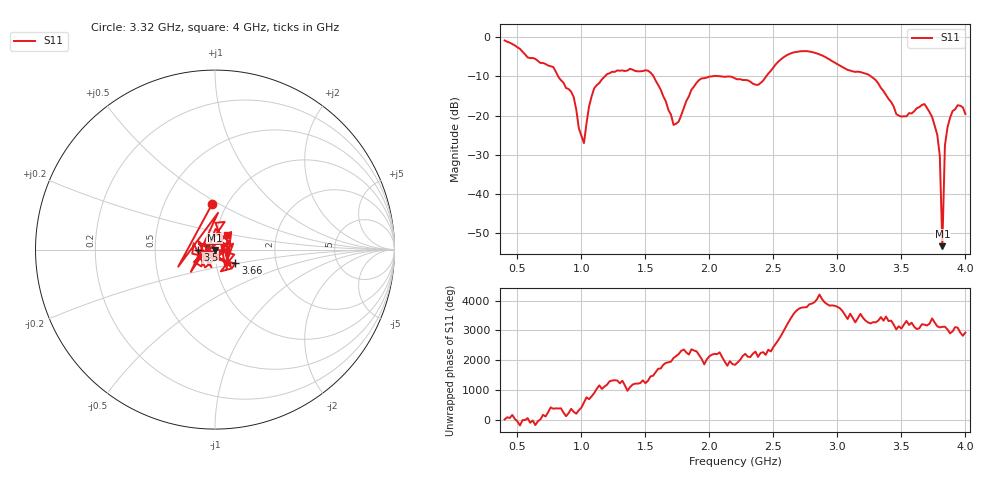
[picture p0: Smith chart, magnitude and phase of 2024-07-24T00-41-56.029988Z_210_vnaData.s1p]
!Created with skrf (http://scikit-rf.org).
# Hz S RI R 50.0
!freq ReS11 ImS11
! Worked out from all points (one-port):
!   181 points, 400 MHz to 4 GHz, reference 50 ohm
!   lowest |S11| = -53.3 dB at 3.82 GHz (marker M1), VSWR 1.00, Z = 49.9 - j0.189 ohm
!   |S11| at or under -10 dB: 818.1 MHz to 1.183 GHz (364.7 MHz wide, 36.5 % of centre); 1.563 GHz to 2.016 GHz (452.3 MHz wide, 25.3 % of centre); 3.263 GHz to end of sweep (the widest 3 of 4)
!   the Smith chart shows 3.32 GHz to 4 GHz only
!   S11 on the Smith chart (normalised r, x): 3.32 GHz: 0.85, +0.47; 3.5 GHz: 0.82, -0.00; 3.66 GHz: 1.24, -0.19; 4 GHz: 1.13, +0.18
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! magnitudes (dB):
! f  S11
! 400 MHz  -0.8
! 780 MHz  -7.6
! 860 MHz  -11.6
! 940 MHz  -15.3
! 980 MHz  -23.2
! 1.02 GHz  -27.0
! 1.06 GHz  -17.6
! 1.1 GHz  -13.0
! 1.3 GHz  -8.5
! 1.54 GHz  -9.0
! 1.72 GHz  -22.4
! 1.76 GHz  -21.5
! 1.92 GHz  -10.9
! 2.2 GHz  -10.5
! 2.38 GHz  -12.2
! 2.66 GHz  -3.9
! 3.1 GHz  -8.5
! 3.32 GHz  -11.8
! 3.5 GHz  -20.2
! 3.56 GHz  -19.3
! 3.66 GHz  -17.3
! 3.78 GHz  -24.8
! 3.8 GHz  -30.2
! 3.82 GHz  -53.3
! 3.84 GHz  -27.6
! 3.86 GHz  -23.0
! 3.94 GHz  -17.3
! 4 GHz  -19.6
